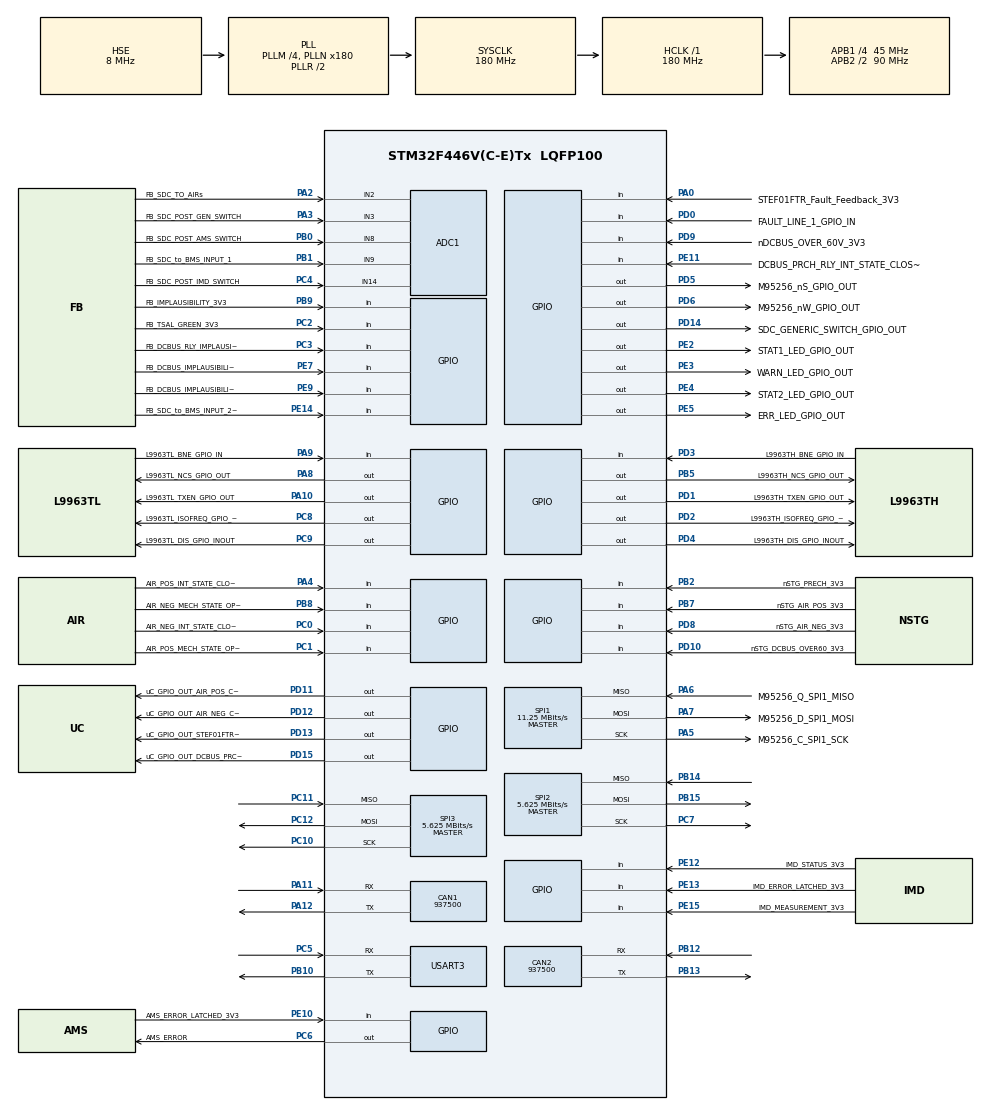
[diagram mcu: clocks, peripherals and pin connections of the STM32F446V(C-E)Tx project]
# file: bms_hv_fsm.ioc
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ADC1.Channel-0\#ChannelRegularConversion=ADC_CHANNEL_3
ADC1.ExternalTrigConv=ADC_EXTERNALTRIGCONV_T2_TRGO
ADC1.NbrOfConversionFlag=1
ADC1.Rank-0\#ChannelRegularConversion=1
ADC1.SamplingTime-0\#ChannelRegularConversion=ADC_SAMPLETIME_3CYCLES
ADC1.master=1
CAN1.BS1=CAN_BS1_1TQ
CAN1.BS2=CAN_BS2_1TQ
CAN1.CalculateBaudRate=937500
CAN1.CalculateTimeBit=1066
CAN1.CalculateTimeQuantum=355.55555555555554
CAN2.BS1=CAN_BS1_1TQ
CAN2.BS2=CAN_BS2_1TQ
CAN2.CalculateBaudRate=937500
CAN2.CalculateTimeBit=1066
CAN2.CalculateTimeQuantum=355.55555555555554
Mcu.Family=STM32F4
Mcu.Name=STM32F446V(C-E)Tx
Mcu.Package=LQFP100
NVIC.PriorityGroup=NVIC_PRIORITYGROUP_4
NVIC.TIM6_DAC_IRQn=true\:0\:0\:false\:false\:true\:true\:true\:true
PA0-WKUP.GPIO_Label=STEF01FTR_Fault_Feedback_3V3
PA0-WKUP.Signal=GPIO_Input
PA10.GPIO_Label=L9963TL_TXEN_GPIO_OUT
PA10.Signal=GPIO_Output
PA11.Mode=CAN_Activate
PA11.Signal=CAN1_RX
PA12.Mode=CAN_Activate
PA12.Signal=CAN1_TX
PA13.Mode=Serial_Wire
PA13.Signal=SYS_JTMS-SWDIO
PA14.Mode=Serial_Wire
PA14.Signal=SYS_JTCK-SWCLK
PA15.Signal=SYS_JTDI
PA2.GPIO_Label=FB_SDC_TO_AIRs
PA2.Signal=ADCx_IN2
PA3.GPIO_Label=FB_SDC_POST_GEN_SWITCH
PA3.Signal=ADCx_IN3
PA4.GPIO_Label=AIR_POS_INT_STATE_CLOSED_3V3
PA4.Signal=GPIO_Input
PA5.GPIO_Label=M95256_C_SPI1_SCK
PA5.Mode=Full_Duplex_Master
PA5.Signal=SPI1_SCK
PA6.GPIO_Label=M95256_Q_SPI1_MISO
PA6.Mode=Full_Duplex_Master
PA6.Signal=SPI1_MISO
PA7.GPIO_Label=M95256_D_SPI1_MOSI
PA7.Mode=Full_Duplex_Master
PA7.Signal=SPI1_MOSI
PA8.GPIO_Label=L9963TL_NCS_GPIO_OUT
PA8.Signal=GPIO_Output
PA9.GPIO_Label=L9963TL_BNE_GPIO_IN
PA9.Signal=GPIO_Input
PB0.GPIO_Label=FB_SDC_POST_AMS_SWITCH
PB0.Signal=ADCx_IN8
PB1.GPIO_Label=FB_SDC_to_BMS_INPUT_1
PB1.Signal=ADCx_IN9
PB10.Mode=Asynchronous
PB10.Signal=USART3_TX
PB12.Mode=CAN_Activate
PB12.Signal=CAN2_RX
PB13.Mode=CAN_Activate
PB13.Signal=CAN2_TX
PB14.Mode=Full_Duplex_Master
PB14.Signal=SPI2_MISO
PB15.Mode=Full_Duplex_Master
PB15.Signal=SPI2_MOSI
PB2.GPIO_Label=nSTG_PRECH_3V3
PB2.Signal=GPIO_Input
PB3.Signal=SYS_JTDO-SWO
PB5.GPIO_Label=L9963TH_NCS_GPIO_OUT
PB5.Signal=GPIO_Output
PB7.GPIO_Label=nSTG_AIR_POS_3V3
PB7.Signal=GPIO_Input
PB8.GPIO_Label=AIR_NEG_MECH_STATE_OPEN_3V3
PB8.Signal=GPIO_Input
PB9.GPIO_Label=FB_IMPLAUSIBILITY_3V3
PB9.Signal=GPIO_Input
PC0.GPIO_Label=AIR_NEG_INT_STATE_CLOSED_3V3
PC0.Signal=GPIO_Input
PC1.GPIO_Label=AIR_POS_MECH_STATE_OPEN_3V3
PC1.GPIO_PuPd=GPIO_NOPULL
PC1.Signal=GPIO_Input
PC10.Mode=Full_Duplex_Master
PC10.Signal=SPI3_SCK
PC11.Mode=Full_Duplex_Master
PC11.Signal=SPI3_MISO
PC12.Mode=Full_Duplex_Master
PC12.Signal=SPI3_MOSI
PC2.GPIO_Label=FB_TSAL_GREEN_3V3
PC2.Signal=GPIO_Input
PC3.GPIO_Label=FB_DCBUS_RLY_IMPLAUSIBILITY_3V3
PC3.Signal=GPIO_Input
PC4.GPIO_Label=FB_SDC_POST_IMD_SWITCH
PC4.Signal=ADCx_IN14
PC5.Mode=Asynchronous
PC5.Signal=USART3_RX
PC6.GPIO_Label=AMS_ERROR
PC6.GPIO_PuPd=GPIO_PULLDOWN
PC6.Signal=GPIO_Output
PC7.Mode=Full_Duplex_Master
PC7.Signal=SPI2_SCK
PC8.GPIO_Label=L9963TL_ISOFREQ_GPIO_OUT
PC8.Signal=GPIO_Output
PC9.GPIO_Label=L9963TL_DIS_GPIO_INOUT
PC9.GPIO_ModeDefaultOutputPP=GPIO_MODE_OUTPUT_OD
PC9.GPIO_PuPd=GPIO_NOPULL
PC9.PinState=GPIO_PIN_SET
PC9.Signal=GPIO_Output
PD0.GPIO_Label=FAULT_LINE_1_GPIO_IN
PD0.Signal=GPIO_Input
PD1.GPIO_Label=L9963TH_TXEN_GPIO_OUT
PD1.Signal=GPIO_Output
PD10.GPIO_Label=nSTG_DCBUS_OVER60_3V3
PD10.Signal=GPIO_Input
PD11.GPIO_Label=uC_GPIO_OUT_AIR_POS_COMMAND  
PD11.GPIO_PuPd=GPIO_PULLDOWN
PD11.Signal=GPIO_Output
PD12.GPIO_Label=uC_GPIO_OUT_AIR_NEG_COMMAND
PD12.GPIO_PuPd=GPIO_PULLDOWN
PD12.Signal=GPIO_Output
PD13.GPIO_Label=uC_GPIO_OUT_STEF01FTR_Enable
PD13.GPIO_PuPd=GPIO_PULLDOWN
PD13.Signal=GPIO_Output
PD14.GPIO_Label=SDC_GENERIC_SWITCH_GPIO_OUT
PD14.GPIO_PuPd=GPIO_PULLDOWN
PD14.Signal=GPIO_Output
PD15.GPIO_Label=uC_GPIO_OUT_DCBUS_PRCH_RLY_COMMAND  
PD15.GPIO_PuPd=GPIO_PULLDOWN
PD15.Signal=GPIO_Output
PD2.GPIO_Label=L9963TH_ISOFREQ_GPIO_OUT
PD2.Signal=GPIO_Output
PD3.GPIO_Label=L9963TH_BNE_GPIO_IN
PD3.Signal=GPIO_Input
PD4.GPIO_Label=L9963TH_DIS_GPIO_INOUT
PD4.GPIO_ModeDefaultOutputPP=GPIO_MODE_OUTPUT_OD
PD4.GPIO_PuPd=GPIO_NOPULL
PD4.PinState=GPIO_PIN_SET
PD4.Signal=GPIO_Output
PD5.GPIO_Label=M95256_nS_GPIO_OUT
PD5.Signal=GPIO_Output
PD6.GPIO_Label=M95256_nW_GPIO_OUT
PD6.Signal=GPIO_Output
PD8.GPIO_Label=nSTG_AIR_NEG_3V3
PD8.Signal=GPIO_Input
PD9.GPIO_Label=nDCBUS_OVER_60V_3V3
PD9.Signal=GPIO_Input
PE10.GPIO_Label=AMS_ERROR_LATCHED_3V3
PE10.Signal=GPIO_Input
PE11.GPIO_Label=DCBUS_PRCH_RLY_INT_STATE_CLOSED_3V3
PE11.Signal=GPIO_Input
PE12.GPIO_Label=IMD_STATUS_3V3
PE12.GPIO_PuPd=GPIO_PULLDOWN
PE12.Signal=GPIO_Input
PE13.GPIO_Label=IMD_ERROR_LATCHED_3V3
PE13.Signal=GPIO_Input
PE14.GPIO_Label=FB_SDC_to_BMS_INPUT_2_3V3
PE14.Signal=GPIO_Input
PE15.GPIO_Label=IMD_MEASUREMENT_3V3
PE15.Signal=GPIO_Input
PE2.GPIO_Label=STAT1_LED_GPIO_OUT
PE2.Signal=GPIO_Output
PE3.GPIO_Label=WARN_LED_GPIO_OUT
PE3.Signal=GPIO_Output
PE4.GPIO_Label=STAT2_LED_GPIO_OUT
PE4.Signal=GPIO_Output
PE5.GPIO_Label=ERR_LED_GPIO_OUT
PE5.Signal=GPIO_Output
PE7.GPIO_Label=FB_DCBUS_IMPLAUSIBILITY_3V3  
PE7.Signal=GPIO_Input
PE9.GPIO_Label=FB_DCBUS_IMPLAUSIBILITY_3V3  
PE9.Signal=GPIO_Input
PH0-OSC_IN.Mode=HSE-External-Oscillator
PH0-OSC_IN.Signal=RCC_OSC_IN
PH1-OSC_OUT.Mode=HSE-External-Oscillator
PH1-OSC_OUT.Signal=RCC_OSC_OUT
ProjectManager.HeapSize=0x200
ProjectManager.StackSize=0x400
ProjectManager.TargetToolchain=Makefile
RCC.AHBFreq_Value=180000000
RCC.APB1CLKDivider=RCC_HCLK_DIV4
RCC.APB1Freq_Value=45000000
RCC.APB1TimFreq_Value=90000000
RCC.APB2CLKDivider=RCC_HCLK_DIV2
RCC.APB2Freq_Value=90000000
RCC.APB2TimFreq_Value=180000000
RCC.CortexFreq_Value=180000000
RCC.HCLKFreq_Value=180000000
RCC.HSE_VALUE=8000000
RCC.PLLM=4
RCC.PLLN=180
RCC.PLLSourceVirtual=RCC_PLLSOURCE_HSE
RCC.SYSCLKFreq_VALUE=180000000
RCC.SYSCLKSource=RCC_SYSCLKSOURCE_PLLRCLK
RCC.USBFreq_Value=180000000
RCC.VCOOutputFreq_Value=360000000
SH.ADCx_IN14.0=ADC1_IN14,IN14
SH.ADCx_IN2.0=ADC1_IN2,IN2
SH.ADCx_IN3.0=ADC1_IN3,IN3
SH.ADCx_IN8.0=ADC1_IN8,IN8
SH.ADCx_IN9.0=ADC1_IN9,IN9
SPI1.BaudRatePrescaler=SPI_BAUDRATEPRESCALER_8
SPI1.CalculateBaudRate=11.25 MBits/s
SPI1.Direction=SPI_DIRECTION_2LINES
SPI1.Mode=SPI_MODE_MASTER
SPI1.VirtualType=VM_MASTER
SPI2.BaudRatePrescaler=SPI_BAUDRATEPRESCALER_8
SPI2.CLKPhase=SPI_PHASE_2EDGE
SPI2.CalculateBaudRate=5.625 MBits/s
SPI2.Direction=SPI_DIRECTION_2LINES
SPI2.Mode=SPI_MODE_MASTER
SPI2.VirtualType=VM_MASTER
SPI3.BaudRatePrescaler=SPI_BAUDRATEPRESCALER_8
SPI3.CLKPhase=SPI_PHASE_2EDGE
SPI3.CalculateBaudRate=5.625 MBits/s
SPI3.Direction=SPI_DIRECTION_2LINES
SPI3.Mode=SPI_MODE_MASTER
SPI3.VirtualType=VM_MASTER
TIM6.Period=8999
TIM6.Prescaler=899
USART3.VirtualMode=VM_ASYNC
VP_TIM6_VS_ClockSourceINT.Mode=Enable_Timer
board=custom

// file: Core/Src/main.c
/* USER CODE BEGIN Header */
/**
  ******************************************************************************
  * @file           : main.c
  * @brief          : Main program body
  ******************************************************************************
  * @attention
  *
  * Copyright (c) 2025 STMicroelectronics.
  * All rights reserved.
  *
  * This software is licensed under terms that can be found in the LICENSE file
  * in the root directory of this software component.
  * If no LICENSE file comes with this software, it is provided AS-IS.
  *
  ******************************************************************************
  */
/* USER CODE END Header */
#include "main.h"
#include "adc.h"
#include "can.h"
#include "spi.h"
#include "tim.h"
#include "usart.h"
#include "gpio.h"

/* USER CODE BEGIN Includes */
#include "bms_app.h"
#include "bms_config.h"
#include "bms_hv_fsm.h"
#include "fsm.h"
/* USER CODE END Includes */

void SystemClock_Config(void);

/* USER CODE BEGIN 0 */
/* shared with bms_hv_fsm.c (relay state machine) */
FSM_HandleTypeDef hfsm;
uint8_t volatile error_code = 30;
uint8_t charge_cmd, drive_cmd, balancing_cmd;
FSM_BMS_HV_StateTypeDef current_state;
/* USER CODE END 0 */

int main(void)
{

  /* MCU Configuration--------------------------------------------------------*/

  /* Reset of all peripherals, Initializes the Flash interface and the Systick. */
  HAL_Init();

  /* Configure the system clock */
  SystemClock_Config();

  /* Initialize all configured peripherals */
  MX_GPIO_Init();
  MX_ADC1_Init();
  MX_CAN1_Init();
  MX_CAN2_Init();
  MX_SPI1_Init();
  MX_SPI2_Init();
  MX_SPI3_Init();
  MX_USART3_UART_Init();
  MX_TIM6_Init();
  /* USER CODE BEGIN 2 */
  /* AFE chain, safety monitor, CAN telemetry, log, LEDs, watchdog (bms_app.c) */
  bms_app_init();

#if BMS_ENABLE_FSM
  /* relay state machine (AIRs / precharge): enable only after validating it on the HV hardware */
  if (FSM_BMS_HV_init(&hfsm, 0, run_callback_1, transition_callback_1) != STMLIBS_OK) {
      error_code = 2;
  }
  if (FSM_start(&hfsm) != STMLIBS_OK) {
      error_code = 2;
  }
  current_state = FSM_get_state(&hfsm);
#endif

  /* USER CODE END 2 */

  /* Infinite loop */
  /* USER CODE BEGIN WHILE */
    while (1) {
      bms_app_loop();
#if BMS_ENABLE_FSM
      FSM_routine(&hfsm);
      current_state = FSM_get_state(&hfsm);
#endif
    /* USER CODE END WHILE */

    }
}

void SystemClock_Config(void)
{
  RCC_OscInitTypeDef RCC_OscInitStruct = {0};
  RCC_ClkInitTypeDef RCC_ClkInitStruct = {0};

  /** Configure the main internal regulator output voltage
  */
  __HAL_RCC_PWR_CLK_ENABLE();
  __HAL_PWR_VOLTAGESCALING_CONFIG(PWR_REGULATOR_VOLTAGE_SCALE1);

  /** Initializes the RCC Oscillators according to the specified parameters
  * in the RCC_OscInitTypeDef structure.
  */
  RCC_OscInitStruct.OscillatorType = RCC_OSCILLATORTYPE_HSE;
  RCC_OscInitStruct.HSEState = RCC_HSE_ON;
  RCC_OscInitStruct.PLL.PLLState = RCC_PLL_ON;
  RCC_OscInitStruct.PLL.PLLSource = RCC_PLLSOURCE_HSE;
  RCC_OscInitStruct.PLL.PLLM = 4;
  RCC_OscInitStruct.PLL.PLLN = 180;
  RCC_OscInitStruct.PLL.PLLP = RCC_PLLP_DIV2;
  RCC_OscInitStruct.PLL.PLLQ = 2;
  RCC_OscInitStruct.PLL.PLLR = 2;
  if (HAL_RCC_OscConfig(&RCC_OscInitStruct) != HAL_OK)
  {
    Error_Handler();
  }

  /** Activate the Over-Drive mode
  */
  if (HAL_PWREx_EnableOverDrive() != HAL_OK)
  {
    Error_Handler();
  }

  /** Initializes the CPU, AHB and APB buses clocks
  */
  RCC_ClkInitStruct.ClockType = RCC_CLOCKTYPE_HCLK|RCC_CLOCKTYPE_SYSCLK
                              |RCC_CLOCKTYPE_PCLK1|RCC_CLOCKTYPE_PCLK2;
  RCC_ClkInitStruct.SYSCLKSource = RCC_SYSCLKSOURCE_PLLRCLK;
  RCC_ClkInitStruct.AHBCLKDivider = RCC_SYSCLK_DIV1;
  RCC_ClkInitStruct.APB1CLKDivider = RCC_HCLK_DIV4;
  RCC_ClkInitStruct.APB2CLKDivider = RCC_HCLK_DIV2;

  if (HAL_RCC_ClockConfig(&RCC_ClkInitStruct, FLASH_LATENCY_5) != HAL_OK)
  {
    Error_Handler();
  }
}

void Error_Handler(void)
{
    __disable_irq();
    while (1) {
    }
}
